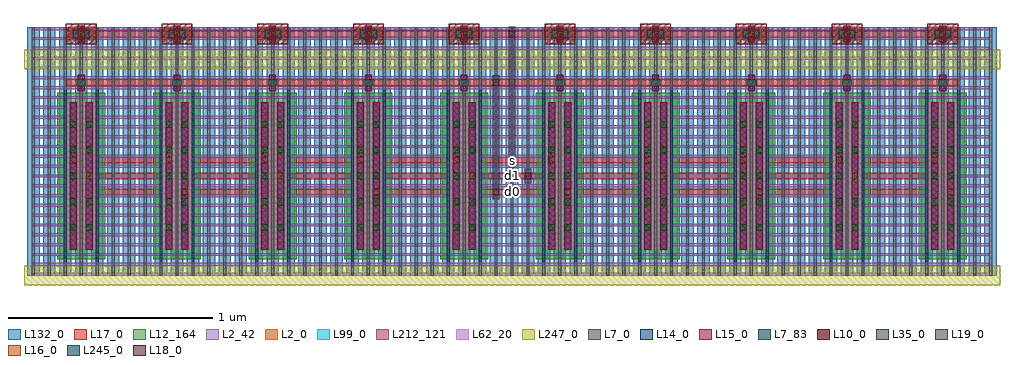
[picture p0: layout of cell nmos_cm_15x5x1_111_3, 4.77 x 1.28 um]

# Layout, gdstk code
import gdstk
lib = gdstk.Library(unit=1e-6, precision=1e-12)
def R(c, l, rs):  # rectangles x0, y0, x1, y1
    for r in rs: c.add(gdstk.rectangle(r[:2], r[2:], *l))
def A(c, l, x, y, w, h, nx, ny, dx, dy):  # array of equal rectangles
    R(c, l, [(x+i*dx, y+j*dy, x+i*dx+w, y+j*dy+h) for i in range(nx) for j in range(ny)])
L2_0 = (2, 0)
L2_42 = (2, 42)
L7_0 = (7, 0)
L7_83 = (7, 83)
L10_0 = (10, 0)
L12_164 = (12, 164)
L14_0 = (14, 0)
L15_0 = (15, 0)
L16_0 = (16, 0)
L17_0 = (17, 0)
L18_0 = (18, 0)
L19_0 = (19, 0)
L35_0 = (35, 0)
L62_20 = (62, 20)
L99_0 = (99, 0)
L132_0 = (132, 0)
L212_121 = (212, 121)
L245_0 = (245, 0)
L247_0 = (247, 0)

nmos_cm_15x5x1_111_3 = lib.new_cell('nmos_cm_15x5x1_111_3')
A(nmos_cm_15x5x1_111_3, L2_0, 0.186, 0.127, 0.156, 0.72, 10, 1, 0.468, 0)
A(nmos_cm_15x5x1_111_3, L2_0, 0.209, 1.151, 0.11, 0.06, 10, 1, 0.468, 0)
A(nmos_cm_15x5x1_111_3, L2_42, 0.023, 0, 4.68, 0.014, 1, 26, 0, 0.048)
A(nmos_cm_15x5x1_111_3, L7_0, 0.023, 0, 0.014, 1.214, 61, 1, 0.078, 0)
R(nmos_cm_15x5x1_111_3, L7_83, [(0.179,0.067,0.193,0.907), (0.335,0.067,0.349,0.907), (0.647,0.067,0.661,0.907), (0.803,0.067,0.817,0.907), (1.115,0.067,1.129,0.907), (1.271,0.067,1.285,0.907), (1.583,0.067,1.597,0.907), (1.739,0.067,1.753,0.907), (2.051,0.067,2.065,0.907), (2.207,0.067,2.221,0.907), (2.519,0.067,2.533,0.907), (2.675,0.067,2.689,0.907), (2.987,0.067,3.001,0.907), (3.143,0.067,3.157,0.907), (3.455,0.067,3.469,0.907), (3.611,0.067,3.625,0.907), (3.923,0.067,3.937,0.907), (4.079,0.067,4.093,0.907), (4.391,0.067,4.405,0.907), (4.547,0.067,4.561,0.907)])
A(nmos_cm_15x5x1_111_3, L10_0, 0.189, 1.131, 0.15, 0.1, 10, 1, 0.468, 0)
A(nmos_cm_15x5x1_111_3, L12_164, 0.147, 0.079, 0.234, 0.816, 10, 1, 0.468, 0)
A(nmos_cm_15x5x1_111_3, L14_0, 0.224, 1.161, 0.08, 0.04, 10, 1, 0.468, 0)
R(nmos_cm_15x5x1_111_3, L14_0, [(0.208,0.127,0.242,0.847), (0.286,0.127,0.32,0.847), (0.676,0.127,0.71,0.847), (0.754,0.127,0.788,0.847), (1.144,0.127,1.178,0.847), (1.222,0.127,1.256,0.847), (1.612,0.127,1.646,0.847), (1.69,0.127,1.724,0.847), (2.08,0.127,2.114,0.847), (2.158,0.127,2.192,0.847), (2.548,0.127,2.582,0.847), (2.626,0.127,2.66,0.847), (3.016,0.127,3.05,0.847), (3.094,0.127,3.128,0.847), (3.484,0.127,3.518,0.847), (3.562,0.127,3.596,0.847), (3.952,0.127,3.986,0.847), (4.03,0.127,4.064,0.847), (4.42,0.127,4.454,0.847), (4.498,0.127,4.532,0.847)])
A(nmos_cm_15x5x1_111_3, L15_0, 0.248, 0.902, 0.032, 0.08, 10, 2, 0.468, 0.239)
R(nmos_cm_15x5x1_111_3, L15_0, [(0.209,0.127,0.241,0.847), (0.287,0.127,0.319,0.847), (0.677,0.127,0.709,0.847), (0.755,0.127,0.787,0.847), (1.145,0.127,1.177,0.847), (1.223,0.127,1.255,0.847), (1.613,0.127,1.645,0.847), (1.691,0.127,1.723,0.847), (2.081,0.127,2.113,0.847), (2.159,0.127,2.191,0.847), (2.549,0.127,2.581,0.847), (2.627,0.127,2.659,0.847), (3.017,0.127,3.049,0.847), (3.095,0.127,3.127,0.847), (3.485,0.127,3.517,0.847), (3.563,0.127,3.595,0.847), (3.953,0.127,3.985,0.847), (4.031,0.127,4.063,0.847), (4.421,0.127,4.453,0.847), (4.499,0.127,4.531,0.847)])
A(nmos_cm_15x5x1_111_3, L16_0, 0.755, 0.393, 0.032, 0.032, 5, 1, 0.936, 0)
A(nmos_cm_15x5x1_111_3, L16_0, 0.287, 0.471, 0.032, 0.032, 5, 1, 0.936, 0)
A(nmos_cm_15x5x1_111_3, L16_0, 0.209, 0.549, 0.032, 0.032, 10, 1, 0.468, 0)
A(nmos_cm_15x5x1_111_3, L16_0, 0.248, 0.927, 0.032, 0.032, 10, 2, 0.468, 0.238)
A(nmos_cm_15x5x1_111_3, L17_0, 0.189, 0.393, 0.15, 0.032, 10, 3, 0.468, 0.078)
A(nmos_cm_15x5x1_111_3, L17_0, 0.329, 0.393, 0.338, 0.032, 1, 3, 0, 0.078)
A(nmos_cm_15x5x1_111_3, L17_0, 0.189, 0.927, 0.15, 0.032, 10, 2, 0.468, 0.238)
R(nmos_cm_15x5x1_111_3, L17_0, [(0.797,0.393,1.135,0.425), (0.797,0.393,1.135,0.425), (1.265,0.393,1.603,0.425), (1.265,0.393,1.603,0.425), (1.265,0.393,1.603,0.425), (1.733,0.393,2.071,0.425), (1.733,0.393,2.071,0.425), (1.733,0.393,2.071,0.425), (1.733,0.393,2.071,0.425), (2.201,0.393,2.539,0.425), (2.201,0.393,2.539,0.425), (2.201,0.393,2.539,0.425), (2.201,0.393,2.539,0.425), (2.201,0.393,2.539,0.425), (2.669,0.393,3.007,0.425), (2.669,0.393,3.007,0.425), (2.669,0.393,3.007,0.425), (2.669,0.393,3.007,0.425), (2.669,0.393,3.007,0.425), (2.669,0.393,3.007,0.425), (3.137,0.393,3.475,0.425), (3.137,0.393,3.475,0.425), (3.137,0.393,3.475,0.425), (3.137,0.393,3.475,0.425), (3.137,0.393,3.475,0.425), (3.137,0.393,3.475,0.425), (3.137,0.393,3.475,0.425), (3.605,0.393,3.943,0.425), (3.605,0.393,3.943,0.425), (3.605,0.393,3.943,0.425), (3.605,0.393,3.943,0.425), (3.605,0.393,3.943,0.425), (3.605,0.393,3.943,0.425), (3.605,0.393,3.943,0.425), (3.605,0.393,3.943,0.425), (4.073,0.393,4.411,0.425), (4.073,0.393,4.411,0.425), (4.073,0.393,4.411,0.425), (4.073,0.393,4.411,0.425), (4.073,0.393,4.411,0.425), (4.073,0.393,4.411,0.425), (4.073,0.393,4.411,0.425), (4.073,0.393,4.411,0.425), (4.073,0.393,4.411,0.425), (0.797,0.471,1.135,0.503), (0.797,0.471,1.135,0.503), (1.265,0.471,1.603,0.503), (1.265,0.471,1.603,0.503), (1.265,0.471,1.603,0.503), (1.733,0.471,2.071,0.503), (1.733,0.471,2.071,0.503), (1.733,0.471,2.071,0.503), (1.733,0.471,2.071,0.503), (2.201,0.471,2.539,0.503), (2.201,0.471,2.539,0.503), (2.201,0.471,2.539,0.503), (2.201,0.471,2.539,0.503), (2.201,0.471,2.539,0.503), (2.669,0.471,3.007,0.503), (2.669,0.471,3.007,0.503), (2.669,0.471,3.007,0.503), (2.669,0.471,3.007,0.503), (2.669,0.471,3.007,0.503), (2.669,0.471,3.007,0.503), (3.137,0.471,3.475,0.503), (3.137,0.471,3.475,0.503), (3.137,0.471,3.475,0.503), (3.137,0.471,3.475,0.503), (3.137,0.471,3.475,0.503), (3.137,0.471,3.475,0.503), (3.137,0.471,3.475,0.503), (3.605,0.471,3.943,0.503), (3.605,0.471,3.943,0.503), (3.605,0.471,3.943,0.503), (3.605,0.471,3.943,0.503), (3.605,0.471,3.943,0.503), (3.605,0.471,3.943,0.503), (3.605,0.471,3.943,0.503), (3.605,0.471,3.943,0.503), (4.073,0.471,4.411,0.503), (4.073,0.471,4.411,0.503), (4.073,0.471,4.411,0.503), (4.073,0.471,4.411,0.503), (4.073,0.471,4.411,0.503), (4.073,0.471,4.411,0.503), (4.073,0.471,4.411,0.503), (4.073,0.471,4.411,0.503), (4.073,0.471,4.411,0.503), (0.797,0.549,1.135,0.581), (0.797,0.549,1.135,0.581), (1.265,0.549,1.603,0.581), (1.265,0.549,1.603,0.581), (1.265,0.549,1.603,0.581), (1.733,0.549,2.071,0.581), (1.733,0.549,2.071,0.581), (1.733,0.549,2.071,0.581), (1.733,0.549,2.071,0.581), (2.201,0.549,2.539,0.581), (2.201,0.549,2.539,0.581), (2.201,0.549,2.539,0.581), (2.201,0.549,2.539,0.581), (2.201,0.549,2.539,0.581), (2.669,0.549,3.007,0.581), (2.669,0.549,3.007,0.581), (2.669,0.549,3.007,0.581), (2.669,0.549,3.007,0.581), (2.669,0.549,3.007,0.581), (2.669,0.549,3.007,0.581), (3.137,0.549,3.475,0.581), (3.137,0.549,3.475,0.581), (3.137,0.549,3.475,0.581), (3.137,0.549,3.475,0.581), (3.137,0.549,3.475,0.581), (3.137,0.549,3.475,0.581), (3.137,0.549,3.475,0.581), (3.605,0.549,3.943,0.581), (3.605,0.549,3.943,0.581), (3.605,0.549,3.943,0.581), (3.605,0.549,3.943,0.581), (3.605,0.549,3.943,0.581), (3.605,0.549,3.943,0.581), (3.605,0.549,3.943,0.581), (3.605,0.549,3.943,0.581), (4.073,0.549,4.411,0.581), (4.073,0.549,4.411,0.581), (4.073,0.549,4.411,0.581), (4.073,0.549,4.411,0.581), (4.073,0.549,4.411,0.581), (4.073,0.549,4.411,0.581), (4.073,0.549,4.411,0.581), (4.073,0.549,4.411,0.581), (4.073,0.549,4.411,0.581), (0.329,0.927,0.667,0.959), (0.797,0.927,1.135,0.959), (0.797,0.927,1.135,0.959), (1.265,0.927,1.603,0.959), (1.265,0.927,1.603,0.959), (1.265,0.927,1.603,0.959), (1.733,0.927,2.071,0.959), (1.733,0.927,2.071,0.959), (1.733,0.927,2.071,0.959), (1.733,0.927,2.071,0.959), (2.201,0.927,2.539,0.959), (2.201,0.927,2.539,0.959), (2.201,0.927,2.539,0.959), (2.201,0.927,2.539,0.959), (2.201,0.927,2.539,0.959), (2.669,0.927,3.007,0.959), (2.669,0.927,3.007,0.959), (2.669,0.927,3.007,0.959), (2.669,0.927,3.007,0.959), (2.669,0.927,3.007,0.959), (2.669,0.927,3.007,0.959), (3.137,0.927,3.475,0.959), (3.137,0.927,3.475,0.959), (3.137,0.927,3.475,0.959), (3.137,0.927,3.475,0.959), (3.137,0.927,3.475,0.959), (3.137,0.927,3.475,0.959), (3.137,0.927,3.475,0.959), (3.605,0.927,3.943,0.959), (3.605,0.927,3.943,0.959), (3.605,0.927,3.943,0.959), (3.605,0.927,3.943,0.959), (3.605,0.927,3.943,0.959), (3.605,0.927,3.943,0.959), (3.605,0.927,3.943,0.959), (3.605,0.927,3.943,0.959), (4.073,0.927,4.411,0.959), (4.073,0.927,4.411,0.959), (4.073,0.927,4.411,0.959), (4.073,0.927,4.411,0.959), (4.073,0.927,4.411,0.959), (4.073,0.927,4.411,0.959), (4.073,0.927,4.411,0.959), (4.073,0.927,4.411,0.959), (4.073,0.927,4.411,0.959), (0.329,1.165,0.667,1.197), (0.797,1.165,1.135,1.197), (0.797,1.165,1.135,1.197), (1.265,1.165,1.603,1.197), (1.265,1.165,1.603,1.197), (1.265,1.165,1.603,1.197), (1.733,1.165,2.071,1.197), (1.733,1.165,2.071,1.197), (1.733,1.165,2.071,1.197), (1.733,1.165,2.071,1.197), (2.201,1.165,2.539,1.197), (2.201,1.165,2.539,1.197), (2.201,1.165,2.539,1.197), (2.201,1.165,2.539,1.197), (2.201,1.165,2.539,1.197), (2.669,1.165,3.007,1.197), (2.669,1.165,3.007,1.197), (2.669,1.165,3.007,1.197), (2.669,1.165,3.007,1.197), (2.669,1.165,3.007,1.197), (2.669,1.165,3.007,1.197), (3.137,1.165,3.475,1.197), (3.137,1.165,3.475,1.197), (3.137,1.165,3.475,1.197), (3.137,1.165,3.475,1.197), (3.137,1.165,3.475,1.197), (3.137,1.165,3.475,1.197), (3.137,1.165,3.475,1.197), (3.605,1.165,3.943,1.197), (3.605,1.165,3.943,1.197), (3.605,1.165,3.943,1.197), (3.605,1.165,3.943,1.197), (3.605,1.165,3.943,1.197), (3.605,1.165,3.943,1.197), (3.605,1.165,3.943,1.197), (3.605,1.165,3.943,1.197), (4.073,1.165,4.411,1.197), (4.073,1.165,4.411,1.197), (4.073,1.165,4.411,1.197), (4.073,1.165,4.411,1.197), (4.073,1.165,4.411,1.197), (4.073,1.165,4.411,1.197), (4.073,1.165,4.411,1.197), (4.073,1.165,4.411,1.197), (4.073,1.165,4.411,1.197)])
R(nmos_cm_15x5x1_111_3, L18_0, [(2.276,0.393,2.308,0.425), (2.276,0.393,2.308,0.425), (2.432,0.471,2.464,0.503), (2.432,0.471,2.464,0.503), (2.354,0.549,2.386,0.581), (2.354,0.549,2.386,0.581), (2.276,0.927,2.308,0.959), (2.276,0.927,2.308,0.959), (2.354,1.165,2.386,1.197), (2.354,1.165,2.386,1.197)])
R(nmos_cm_15x5x1_111_3, L19_0, [(2.276,0.373,2.308,0.979), (2.432,0.451,2.464,0.523), (2.354,0.529,2.386,1.217)])
A(nmos_cm_15x5x1_111_3, L35_0, 0.209, 0.219, 0.032, 0.032, 1, 5, 0, 0.126)
A(nmos_cm_15x5x1_111_3, L35_0, 0.287, 0.219, 0.032, 0.032, 1, 5, 0, 0.126)
A(nmos_cm_15x5x1_111_3, L35_0, 0.677, 0.219, 0.032, 0.032, 1, 5, 0, 0.126)
A(nmos_cm_15x5x1_111_3, L35_0, 0.755, 0.219, 0.032, 0.032, 1, 5, 0, 0.126)
A(nmos_cm_15x5x1_111_3, L35_0, 1.145, 0.219, 0.032, 0.032, 1, 5, 0, 0.126)
A(nmos_cm_15x5x1_111_3, L35_0, 1.223, 0.219, 0.032, 0.032, 1, 5, 0, 0.126)
A(nmos_cm_15x5x1_111_3, L35_0, 1.613, 0.219, 0.032, 0.032, 1, 5, 0, 0.126)
A(nmos_cm_15x5x1_111_3, L35_0, 1.691, 0.219, 0.032, 0.032, 1, 5, 0, 0.126)
A(nmos_cm_15x5x1_111_3, L35_0, 2.081, 0.219, 0.032, 0.032, 1, 5, 0, 0.126)
A(nmos_cm_15x5x1_111_3, L35_0, 2.159, 0.219, 0.032, 0.032, 1, 5, 0, 0.126)
A(nmos_cm_15x5x1_111_3, L35_0, 2.549, 0.219, 0.032, 0.032, 1, 5, 0, 0.126)
A(nmos_cm_15x5x1_111_3, L35_0, 2.627, 0.219, 0.032, 0.032, 1, 5, 0, 0.126)
A(nmos_cm_15x5x1_111_3, L35_0, 3.017, 0.219, 0.032, 0.032, 1, 5, 0, 0.126)
A(nmos_cm_15x5x1_111_3, L35_0, 3.095, 0.219, 0.032, 0.032, 1, 5, 0, 0.126)
A(nmos_cm_15x5x1_111_3, L35_0, 3.485, 0.219, 0.032, 0.032, 1, 5, 0, 0.126)
A(nmos_cm_15x5x1_111_3, L35_0, 3.563, 0.219, 0.032, 0.032, 1, 5, 0, 0.126)
A(nmos_cm_15x5x1_111_3, L35_0, 3.953, 0.219, 0.032, 0.032, 1, 5, 0, 0.126)
A(nmos_cm_15x5x1_111_3, L35_0, 4.031, 0.219, 0.032, 0.032, 1, 5, 0, 0.126)
A(nmos_cm_15x5x1_111_3, L35_0, 4.421, 0.219, 0.032, 0.032, 1, 5, 0, 0.126)
A(nmos_cm_15x5x1_111_3, L35_0, 4.499, 0.219, 0.032, 0.032, 1, 5, 0, 0.126)
A(nmos_cm_15x5x1_111_3, L35_0, 0.248, 0.926, 0.032, 0.032, 10, 2, 0.468, 0.239)
A(nmos_cm_15x5x1_111_3, L62_20, 0.186, 0.127, 0.156, 0.72, 10, 1, 0.468, 0)
A(nmos_cm_15x5x1_111_3, L99_0, 0.186, 0.127, 0.156, 0.72, 10, 1, 0.468, 0)
A(nmos_cm_15x5x1_111_3, L99_0, 0.219, 1.156, 0.09, 0.05, 10, 1, 0.468, 0)
A(nmos_cm_15x5x1_111_3, L132_0, 0, 0, 0.06, 1.214, 61, 1, 0.078, 0)
A(nmos_cm_15x5x1_111_3, L212_121, 0.186, 0.127, 0.156, 0.72, 10, 1, 0.468, 0)
A(nmos_cm_15x5x1_111_3, L245_0, 0.241, 0.927, 0.046, 0.03, 10, 1, 0.468, 0)
A(nmos_cm_15x5x1_111_3, L247_0, -0.016, -0.047, 0.56, 0.094, 10, 2, 0.468, 1.056)
nmos_cm_15x5x1_111_3.add(gdstk.Label('s', (2.37,0.565), layer=16, texttype=20))
nmos_cm_15x5x1_111_3.add(gdstk.Label('d1', (2.37,0.487), layer=16, texttype=20))
nmos_cm_15x5x1_111_3.add(gdstk.Label('d0', (2.37,0.409), layer=16, texttype=20))

lib.write_gds('nmos_cm_15x5x1_111_3.gds')
